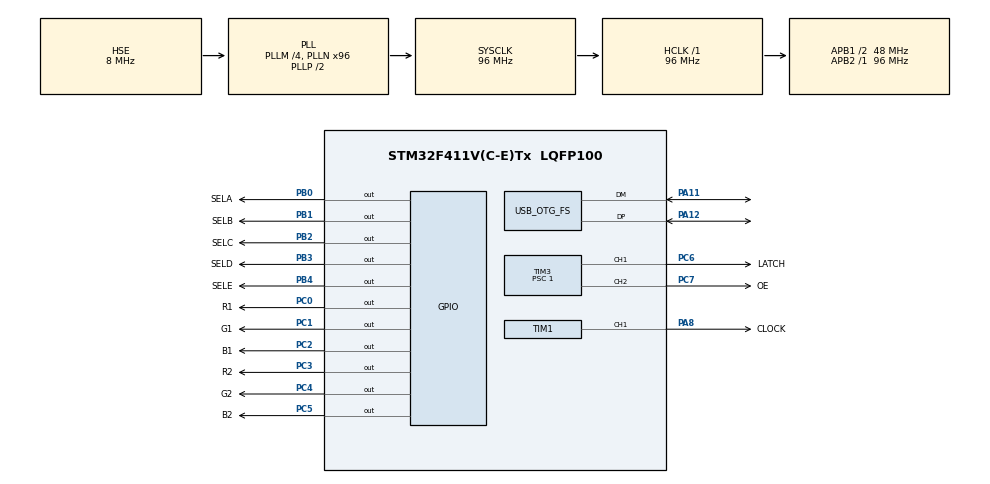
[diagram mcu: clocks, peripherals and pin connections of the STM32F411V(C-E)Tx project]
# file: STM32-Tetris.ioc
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Dma.Request0=TIM1_CH1
Dma.TIM1_CH1.0.Direction=DMA_MEMORY_TO_PERIPH
Dma.TIM1_CH1.0.FIFOMode=DMA_FIFOMODE_ENABLE
Dma.TIM1_CH1.0.FIFOThreshold=DMA_FIFO_THRESHOLD_FULL
Dma.TIM1_CH1.0.Instance=DMA2_Stream3
Dma.TIM1_CH1.0.MemBurst=DMA_MBURST_SINGLE
Dma.TIM1_CH1.0.MemDataAlignment=DMA_MDATAALIGN_BYTE
Dma.TIM1_CH1.0.MemInc=DMA_MINC_ENABLE
Dma.TIM1_CH1.0.Mode=DMA_CIRCULAR
Dma.TIM1_CH1.0.PeriphBurst=DMA_PBURST_SINGLE
Dma.TIM1_CH1.0.PeriphDataAlignment=DMA_PDATAALIGN_BYTE
Dma.TIM1_CH1.0.PeriphInc=DMA_PINC_DISABLE
Dma.TIM1_CH1.0.Priority=DMA_PRIORITY_VERY_HIGH
Mcu.Family=STM32F4
Mcu.Name=STM32F411V(C-E)Tx
Mcu.Package=LQFP100
NVIC.DMA2_Stream3_IRQn=true\:0\:0\:false\:false\:true\:false\:true\:true
NVIC.OTG_FS_IRQn=true\:0\:0\:false\:false\:true\:false\:true\:true
NVIC.PriorityGroup=NVIC_PRIORITYGROUP_0
NVIC.TIM3_IRQn=true\:0\:0\:false\:false\:true\:true\:true\:true
PA0-WKUP.Signal=S_TIM5_CH1
PA1.Signal=S_TIM5_CH2
PA11.Mode=Device_Only
PA11.Signal=USB_OTG_FS_DM
PA12.Mode=Device_Only
PA12.Signal=USB_OTG_FS_DP
PA13.GPIO_Label=SWDIO
PA13.Mode=Serial_Wire
PA13.Signal=SYS_JTMS-SWDIO
PA14.GPIO_Label=SWCLK
PA14.Mode=Serial_Wire
PA14.Signal=SYS_JTCK-SWCLK
PA8.GPIO_Label=CLOCK
PA8.Signal=S_TIM1_CH1
PB0.GPIO_Label=SELA
PB0.GPIO_Speed=GPIO_SPEED_FREQ_VERY_HIGH
PB0.Signal=GPIO_Output
PB1.GPIO_Label=SELB
PB1.GPIO_Speed=GPIO_SPEED_FREQ_VERY_HIGH
PB1.Signal=GPIO_Output
PB2.GPIO_Label=SELC
PB2.GPIO_Speed=GPIO_SPEED_FREQ_VERY_HIGH
PB2.Signal=GPIO_Output
PB3.GPIO_Label=SELD
PB3.GPIO_Speed=GPIO_SPEED_FREQ_VERY_HIGH
PB3.Signal=GPIO_Output
PB4.GPIO_Label=SELE
PB4.GPIO_Speed=GPIO_SPEED_FREQ_VERY_HIGH
PB4.Signal=GPIO_Output
PC0.GPIO_Label=R1
PC0.GPIO_Speed=GPIO_SPEED_FREQ_VERY_HIGH
PC0.Signal=GPIO_Output
PC1.GPIO_Label=G1
PC1.GPIO_Speed=GPIO_SPEED_FREQ_VERY_HIGH
PC1.Signal=GPIO_Output
PC14-OSC32_IN.Mode=LSE-External-Oscillator
PC14-OSC32_IN.Signal=RCC_OSC32_IN
PC15-OSC32_OUT.Mode=LSE-External-Oscillator
PC15-OSC32_OUT.Signal=RCC_OSC32_OUT
PC2.GPIO_Label=B1
PC2.GPIO_Speed=GPIO_SPEED_FREQ_VERY_HIGH
PC2.Signal=GPIO_Output
PC3.GPIO_Label=R2
PC3.GPIO_Speed=GPIO_SPEED_FREQ_VERY_HIGH
PC3.Signal=GPIO_Output
PC4.GPIO_Label=G2
PC4.Signal=GPIO_Output
PC5.GPIO_Label=B2
PC5.Signal=GPIO_Output
PC6.GPIO_Label=LATCH
PC6.Signal=S_TIM3_CH1
PC7.GPIO_Label=OE
PC7.Signal=S_TIM3_CH2
PH0\ -\ OSC_IN.Mode=HSE-External-Oscillator
PH0\ -\ OSC_IN.Signal=RCC_OSC_IN
PH1\ -\ OSC_OUT.Mode=HSE-External-Oscillator
PH1\ -\ OSC_OUT.Signal=RCC_OSC_OUT
ProjectManager.HeapSize=0x200
ProjectManager.StackSize=0x400
ProjectManager.TargetToolchain=STM32CubeIDE
RCC.48MHZClocksFreq_Value=48000000
RCC.AHBFreq_Value=96000000
RCC.APB1CLKDivider=RCC_HCLK_DIV2
RCC.APB1Freq_Value=48000000
RCC.APB1TimFreq_Value=96000000
RCC.APB2Freq_Value=96000000
RCC.APB2TimFreq_Value=96000000
RCC.CortexFreq_Value=96000000
RCC.HCLKFreq_Value=96000000
RCC.HSE_VALUE=8000000
RCC.HSI_VALUE=16000000
RCC.PLLI2SM=8
RCC.PLLI2SN=50
RCC.PLLM=4
RCC.PLLN=96
RCC.SYSCLKFreq_VALUE=96000000
RCC.SYSCLKSource=RCC_SYSCLKSOURCE_PLLCLK
RCC.VCOOutputFreq_Value=192000000
SH.S_TIM1_CH1.0=TIM1_CH1,PWM Generation1 CH1
SH.S_TIM3_CH1.0=TIM3_CH1,PWM Generation1 CH1
SH.S_TIM3_CH2.0=TIM3_CH2,PWM Generation2 CH2
SH.S_TIM5_CH1.0=TIM5_CH1
SH.S_TIM5_CH2.0=TIM5_CH2
TIM1.AutoReloadPreload=TIM_AUTORELOAD_PRELOAD_ENABLE
TIM1.Channel-PWM\ Generation1\ CH1=TIM_CHANNEL_1
TIM1.Period=9
TIM1.Prescaler=1
TIM1.Pulse-PWM\ Generation1\ CH1=5
TIM3.AutoReloadPreload=TIM_AUTORELOAD_PRELOAD_ENABLE
TIM3.Channel-PWM\ Generation1\ CH1=TIM_CHANNEL_1
TIM3.Channel-PWM\ Generation2\ CH2=TIM_CHANNEL_2
TIM3.CounterMode=TIM_COUNTERMODE_UP
TIM3.OC1Preload_PWM=DISABLE
TIM3.OCFastMode_PWM-PWM\ Generation1\ CH1=TIM_OCFAST_ENABLE
TIM3.Period=639
TIM3.Prescaler=1
TIM3.Pulse-PWM\ Generation1\ CH1=12
TIM3.Pulse-PWM\ Generation2\ CH2=640
TIM3.TIM_MasterOutputTrigger=TIM_TRGO_RESET
TIM3.TIM_MasterSlaveMode=TIM_MASTERSLAVEMODE_DISABLE
USB_DEVICE.CLASS_NAME_FS=CDC
USB_DEVICE.VirtualMode=Cdc
USB_DEVICE.VirtualModeFS=Cdc_FS
USB_OTG_FS.VirtualMode=Device_Only
VP_TIM1_VS_ClockSourceINT.Mode=Internal
VP_TIM3_VS_ClockSourceITR.Mode=TriggerSource_ITR0
VP_TIM3_VS_ControllerModeTrigger.Mode=Trigger Mode
VP_USB_DEVICE_VS_USB_DEVICE_CDC_FS.Mode=CDC_FS
board=STM32F411E-DISCO

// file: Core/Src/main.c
/* USER CODE BEGIN Header */
/**
  ******************************************************************************
  * @file           : main.c
  * @brief          : Main program body
  ******************************************************************************
  * @attention
  *
  * Copyright (c) 2022 STMicroelectronics.
  * All rights reserved.
  *
  * This software is licensed under terms that can be found in the LICENSE file
  * in the root directory of this software component.
  * If no LICENSE file comes with this software, it is provided AS-IS.
  *
  ******************************************************************************
  */
/* USER CODE END Header */
#include "main.h"
#include "usb_device.h"

/* USER CODE BEGIN Includes */
#include "console.h"
#include "systick.h"
#include "led.h"
/* USER CODE END Includes */

TIM_HandleTypeDef htim1;
TIM_HandleTypeDef htim3;
DMA_HandleTypeDef hdma_tim1_ch1;

/* USER CODE BEGIN PV */
volatile uint8_t bit;
volatile uint8_t row;
volatile uint32_t frame_count;

volatile uint8_t busyFlag;

uint8_t *nextBuffer;

/* USER CODE END PV */

void SystemClock_Config(void);
static void MX_GPIO_Init(void);
static void MX_DMA_Init(void);
static void MX_TIM3_Init(void);
static void MX_TIM1_Init(void);
/* USER CODE BEGIN PFP */
static void XferCpltCallback(DMA_HandleTypeDef*);
static void XferErrorCallback(DMA_HandleTypeDef*);
static void XferM1CpltCallback(DMA_HandleTypeDef*);
/* USER CODE END PFP */

int main(void)
{

  /* MCU Configuration--------------------------------------------------------*/

  /* Reset of all peripherals, Initializes the Flash interface and the Systick. */
  HAL_Init();

  /* Configure the system clock */
  SystemClock_Config();

  /* USER CODE BEGIN SysInit */
  busyFlag = 1;
  __HAL_TIM_ENABLE_DMA(&htim3, TIM_DMA_CC1);
  /* USER CODE END SysInit */

  /* Initialize all configured peripherals */
  MX_GPIO_Init();
  MX_DMA_Init();
  MX_USB_DEVICE_Init();
  MX_TIM3_Init();
  MX_TIM1_Init();
  /* USER CODE BEGIN 2 */
  DBGMCU->APB2FZ |= DBGMCU_APB2_FZ_DBG_TIM1_STOP;
  DBGMCU->APB1FZ |= DBGMCU_APB1_FZ_DBG_TIM3_STOP;
  //HAL_TIM_Base_MspInit(&htim3);
  //HAL_TIM_MspPostInit(&htim3);

  //DMA1_Stream4->CR |= (4<<DMA_SxCR_CHSEL_Pos) | DMA_SxCR_DBM;
  //DMA1_Stream4->NDTR = 0x4000; // 64 col, 8 Bits per colour channel, 32 rows
  //DMA1_Stream4->PAR = (uint32_t)&(GPIOC->ODR);
  //DMA1_Stream4->M0AR = (uint32_t)buffer1;
  //DMA1_Stream4->M1AR = (uint32_t)buffer2;
  //DMA1_Stream4->CR |= DMA_SxCR_TCIE; // enable the transfer complete interrupt
  //DMA1->HIFCR |= DMA_HIFCR_CTCIF4; // make sure the interrupt flag is clear

  //NVIC_EnableIRQ(DMA1_Stream4_IRQn);

  //DMA1_Stream4->CR |= DMA_SxCR_EN; // enable the stream

  //TIM3->DIER |= TIM_DIER_CC1DE;
  //TIM3->CCER |= TIM_CCER_CC1E;
  //TIM3->BDTR |= TIM_BDTR_MOE; // Main output enabled.. if this isn't set, there is no output on the pins!
  //TIM3->EGR |= TIM_EGR_UG; // trigger a UEV to update the preload, auto-reload, and capture-compare shadow registers
  //TIM3->CR2 |= TIM_CR2_MMS_1; // Master mode - update

  hdma_tim1_ch1.XferCpltCallback = XferCpltCallback;
  hdma_tim1_ch1.XferErrorCallback = XferErrorCallback;
  hdma_tim1_ch1.XferM1CpltCallback = XferM1CpltCallback;
  HAL_DMAEx_MultiBufferStart_IT( &hdma_tim1_ch1, (uint32_t)buffer1, (uint32_t)&(GPIOC->ODR), (uint32_t)buffer2, WIDTH*BITS_PER_CHANNEL*SCAN_RATE);

  HAL_TIM_PWM_Start(&htim1, TIM_CHANNEL_1);
  //HAL_TIM_PWM_Start_DMA(&htim1, TIM_CHANNEL_1);
  //HAL_TIM_Base_Start_IT(&htim3);
  __HAL_TIM_ENABLE_IT(&htim3, TIM_IT_UPDATE);
  HAL_TIM_PWM_Start(&htim3, TIM_CHANNEL_1);
  HAL_TIM_PWM_Start(&htim3, TIM_CHANNEL_2);

  /* USER CODE END 2 */

  /* Infinite loop */
  /* USER CODE BEGIN WHILE */

  ConsoleInit();
  uint32_t current_buffer, start_time;

  while (1)
  {
	ConsoleProcess();
    start_time = HAL_GetTick();
    while(1);
    while(busyFlag);
    busyFlag = 1;
    current_buffer = DMA1_Stream4->CR | DMA_SxCR_CT;
    nextBuffer = current_buffer ? buffer2 : buffer1;
    while(busyFlag);
    busyFlag = 1;
    LED_fillBuffer(frame, nextBuffer);
    LED_waveEffect(frame);
    while(HAL_GetTick() - start_time < 30);
    /* USER CODE END WHILE */

  }
}

void SystemClock_Config(void)
{
  RCC_OscInitTypeDef RCC_OscInitStruct = {0};
  RCC_ClkInitTypeDef RCC_ClkInitStruct = {0};

  /** Configure the main internal regulator output voltage
  */
  __HAL_RCC_PWR_CLK_ENABLE();
  __HAL_PWR_VOLTAGESCALING_CONFIG(PWR_REGULATOR_VOLTAGE_SCALE1);

  /** Initializes the RCC Oscillators according to the specified parameters
  * in the RCC_OscInitTypeDef structure.
  */
  RCC_OscInitStruct.OscillatorType = RCC_OSCILLATORTYPE_HSE;
  RCC_OscInitStruct.HSEState = RCC_HSE_ON;
  RCC_OscInitStruct.PLL.PLLState = RCC_PLL_ON;
  RCC_OscInitStruct.PLL.PLLSource = RCC_PLLSOURCE_HSE;
  RCC_OscInitStruct.PLL.PLLM = 4;
  RCC_OscInitStruct.PLL.PLLN = 96;
  RCC_OscInitStruct.PLL.PLLP = RCC_PLLP_DIV2;
  RCC_OscInitStruct.PLL.PLLQ = 4;
  if (HAL_RCC_OscConfig(&RCC_OscInitStruct) != HAL_OK)
  {
    Error_Handler();
  }

  /** Initializes the CPU, AHB and APB buses clocks
  */
  RCC_ClkInitStruct.ClockType = RCC_CLOCKTYPE_HCLK|RCC_CLOCKTYPE_SYSCLK
                              |RCC_CLOCKTYPE_PCLK1|RCC_CLOCKTYPE_PCLK2;
  RCC_ClkInitStruct.SYSCLKSource = RCC_SYSCLKSOURCE_PLLCLK;
  RCC_ClkInitStruct.AHBCLKDivider = RCC_SYSCLK_DIV1;
  RCC_ClkInitStruct.APB1CLKDivider = RCC_HCLK_DIV2;
  RCC_ClkInitStruct.APB2CLKDivider = RCC_HCLK_DIV1;

  if (HAL_RCC_ClockConfig(&RCC_ClkInitStruct, FLASH_LATENCY_3) != HAL_OK)
  {
    Error_Handler();
  }
}

static void MX_TIM1_Init(void)
{

  TIM_ClockConfigTypeDef sClockSourceConfig = {0};
  TIM_MasterConfigTypeDef sMasterConfig = {0};
  TIM_OC_InitTypeDef sConfigOC = {0};
  TIM_BreakDeadTimeConfigTypeDef sBreakDeadTimeConfig = {0};

  htim1.Instance = TIM1;
  htim1.Init.Prescaler = 1;
  htim1.Init.CounterMode = TIM_COUNTERMODE_UP;
  htim1.Init.Period = 9;
  htim1.Init.ClockDivision = TIM_CLOCKDIVISION_DIV1;
  htim1.Init.RepetitionCounter = 0;
  htim1.Init.AutoReloadPreload = TIM_AUTORELOAD_PRELOAD_ENABLE;
  if (HAL_TIM_Base_Init(&htim1) != HAL_OK)
  {
    Error_Handler();
  }
  sClockSourceConfig.ClockSource = TIM_CLOCKSOURCE_INTERNAL;
  if (HAL_TIM_ConfigClockSource(&htim1, &sClockSourceConfig) != HAL_OK)
  {
    Error_Handler();
  }
  if (HAL_TIM_PWM_Init(&htim1) != HAL_OK)
  {
    Error_Handler();
  }
  sMasterConfig.MasterOutputTrigger = TIM_TRGO_RESET;
  sMasterConfig.MasterSlaveMode = TIM_MASTERSLAVEMODE_DISABLE;
  if (HAL_TIMEx_MasterConfigSynchronization(&htim1, &sMasterConfig) != HAL_OK)
  {
    Error_Handler();
  }
  sConfigOC.OCMode = TIM_OCMODE_PWM1;
  sConfigOC.Pulse = 5;
  sConfigOC.OCPolarity = TIM_OCPOLARITY_HIGH;
  sConfigOC.OCNPolarity = TIM_OCNPOLARITY_HIGH;
  sConfigOC.OCFastMode = TIM_OCFAST_DISABLE;
  sConfigOC.OCIdleState = TIM_OCIDLESTATE_RESET;
  sConfigOC.OCNIdleState = TIM_OCNIDLESTATE_RESET;
  if (HAL_TIM_PWM_ConfigChannel(&htim1, &sConfigOC, TIM_CHANNEL_1) != HAL_OK)
  {
    Error_Handler();
  }
  sBreakDeadTimeConfig.OffStateRunMode = TIM_OSSR_DISABLE;
  sBreakDeadTimeConfig.OffStateIDLEMode = TIM_OSSI_DISABLE;
  sBreakDeadTimeConfig.LockLevel = TIM_LOCKLEVEL_OFF;
  sBreakDeadTimeConfig.DeadTime = 0;
  sBreakDeadTimeConfig.BreakState = TIM_BREAK_DISABLE;
  sBreakDeadTimeConfig.BreakPolarity = TIM_BREAKPOLARITY_HIGH;
  sBreakDeadTimeConfig.AutomaticOutput = TIM_AUTOMATICOUTPUT_DISABLE;
  if (HAL_TIMEx_ConfigBreakDeadTime(&htim1, &sBreakDeadTimeConfig) != HAL_OK)
  {
    Error_Handler();
  }
  HAL_TIM_MspPostInit(&htim1);

}

static void MX_TIM3_Init(void)
{

  TIM_SlaveConfigTypeDef sSlaveConfig = {0};
  TIM_MasterConfigTypeDef sMasterConfig = {0};
  TIM_OC_InitTypeDef sConfigOC = {0};

  htim3.Instance = TIM3;
  htim3.Init.Prescaler = 1;
  htim3.Init.CounterMode = TIM_COUNTERMODE_UP;
  htim3.Init.Period = 639;
  htim3.Init.ClockDivision = TIM_CLOCKDIVISION_DIV1;
  htim3.Init.AutoReloadPreload = TIM_AUTORELOAD_PRELOAD_ENABLE;
  if (HAL_TIM_Base_Init(&htim3) != HAL_OK)
  {
    Error_Handler();
  }
  if (HAL_TIM_PWM_Init(&htim3) != HAL_OK)
  {
    Error_Handler();
  }
  sSlaveConfig.SlaveMode = TIM_SLAVEMODE_TRIGGER;
  sSlaveConfig.InputTrigger = TIM_TS_ITR0;
  if (HAL_TIM_SlaveConfigSynchro(&htim3, &sSlaveConfig) != HAL_OK)
  {
    Error_Handler();
  }
  sMasterConfig.MasterOutputTrigger = TIM_TRGO_RESET;
  sMasterConfig.MasterSlaveMode = TIM_MASTERSLAVEMODE_DISABLE;
  if (HAL_TIMEx_MasterConfigSynchronization(&htim3, &sMasterConfig) != HAL_OK)
  {
    Error_Handler();
  }
  sConfigOC.OCMode = TIM_OCMODE_PWM1;
  sConfigOC.Pulse = 12;
  sConfigOC.OCPolarity = TIM_OCPOLARITY_HIGH;
  sConfigOC.OCFastMode = TIM_OCFAST_ENABLE;
  if (HAL_TIM_PWM_ConfigChannel(&htim3, &sConfigOC, TIM_CHANNEL_1) != HAL_OK)
  {
    Error_Handler();
  }
  __HAL_TIM_DISABLE_OCxPRELOAD(&htim3, TIM_CHANNEL_1);
  sConfigOC.Pulse = 640;
  sConfigOC.OCFastMode = TIM_OCFAST_DISABLE;
  if (HAL_TIM_PWM_ConfigChannel(&htim3, &sConfigOC, TIM_CHANNEL_2) != HAL_OK)
  {
    Error_Handler();
  }
  HAL_TIM_MspPostInit(&htim3);

}

static void MX_DMA_Init(void)
{

  /* DMA controller clock enable */
  __HAL_RCC_DMA2_CLK_ENABLE();

  /* DMA interrupt init */
  /* DMA2_Stream3_IRQn interrupt configuration */
  HAL_NVIC_SetPriority(DMA2_Stream3_IRQn, 0, 0);
  HAL_NVIC_EnableIRQ(DMA2_Stream3_IRQn);

}

static void MX_GPIO_Init(void)
{
  GPIO_InitTypeDef GPIO_InitStruct = {0};

  /* GPIO Ports Clock Enable */
  __HAL_RCC_GPIOC_CLK_ENABLE();
  __HAL_RCC_GPIOH_CLK_ENABLE();
  __HAL_RCC_GPIOA_CLK_ENABLE();
  __HAL_RCC_GPIOB_CLK_ENABLE();

  /*Configure GPIO pin Output Level */
  HAL_GPIO_WritePin(GPIOC, R1_Pin|G1_Pin|B1_Pin|R2_Pin
                          |G2_Pin|B2_Pin, GPIO_PIN_RESET);

  /*Configure GPIO pin Output Level */
  HAL_GPIO_WritePin(GPIOB, SELA_Pin|SELB_Pin|SELC_Pin|SELD_Pin
                          |SELE_Pin, GPIO_PIN_RESET);

  /*Configure GPIO pins : R1_Pin G1_Pin B1_Pin R2_Pin */
  GPIO_InitStruct.Pin = R1_Pin|G1_Pin|B1_Pin|R2_Pin;
  GPIO_InitStruct.Mode = GPIO_MODE_OUTPUT_PP;
  GPIO_InitStruct.Pull = GPIO_NOPULL;
  GPIO_InitStruct.Speed = GPIO_SPEED_FREQ_VERY_HIGH;
  HAL_GPIO_Init(GPIOC, &GPIO_InitStruct);

  /*Configure GPIO pins : PA0 PA1 */
  GPIO_InitStruct.Pin = GPIO_PIN_0|GPIO_PIN_1;
  GPIO_InitStruct.Mode = GPIO_MODE_AF_PP;
  GPIO_InitStruct.Pull = GPIO_NOPULL;
  GPIO_InitStruct.Speed = GPIO_SPEED_FREQ_LOW;
  GPIO_InitStruct.Alternate = GPIO_AF2_TIM5;
  HAL_GPIO_Init(GPIOA, &GPIO_InitStruct);

  /*Configure GPIO pins : G2_Pin B2_Pin */
  GPIO_InitStruct.Pin = G2_Pin|B2_Pin;
  GPIO_InitStruct.Mode = GPIO_MODE_OUTPUT_PP;
  GPIO_InitStruct.Pull = GPIO_NOPULL;
  GPIO_InitStruct.Speed = GPIO_SPEED_FREQ_LOW;
  HAL_GPIO_Init(GPIOC, &GPIO_InitStruct);

  /*Configure GPIO pins : SELA_Pin SELB_Pin SELC_Pin SELD_Pin
                           SELE_Pin */
  GPIO_InitStruct.Pin = SELA_Pin|SELB_Pin|SELC_Pin|SELD_Pin
                          |SELE_Pin;
  GPIO_InitStruct.Mode = GPIO_MODE_OUTPUT_PP;
  GPIO_InitStruct.Pull = GPIO_NOPULL;
  GPIO_InitStruct.Speed = GPIO_SPEED_FREQ_VERY_HIGH;
  HAL_GPIO_Init(GPIOB, &GPIO_InitStruct);

}

/* USER CODE BEGIN 4 */
// Callback: timer has rolled over
void HAL_TIM_PeriodElapsedCallback(TIM_HandleTypeDef *htim)
{
  if (htim == &htim3)
	{
	/* Clear the interrupt flag right away.
	 * Due to pipelining, the register itself might not get updated for several
	 * cycles. If we wait until the end of the ISR to clear the flag,
	 * it can trigger again immediately */
	TIM3->SR &= ~TIM_SR_UIF_Msk;

	if(bit == 0) { // the first 64 bits of a new row have been latched. Set the row select to match.
		GPIOB->ODR = (GPIOB->ODR & ~(row_mask)) | row;
		row++;
		row &= row_mask;
	}
	bit++;
	bit &=  0x7;
	TIM3->CCR2 = 640 - (BRIGHTNESS * (1 << bit)); // set the duty cycle of the NEXT ~OE pulse
  }
}

/**
  * @brief  DMA conversion complete callback
  * @note   This function is executed when the transfer complete interrupt
  *         is generated
  * @retval None
  */
static void XferCpltCallback(DMA_HandleTypeDef *DmaHandle)
{
	if (DmaHandle->Instance == DMA1_Stream4 )
	{
	    DMA1->HIFCR |= DMA_HIFCR_CTCIF4; // make sure the interrupt flag is clear
	    frame_count++;
	    busyFlag = 0; // main loop watches this flag to know when to fill up the next buffer;
	}
}

static void XferErrorCallback(DMA_HandleTypeDef *DmaHandle)
	{
		;
	}
static void XferM1CpltCallback(DMA_HandleTypeDef *DmaHandle) {
	if (DmaHandle->Instance == DMA1_Stream4 )
	{
	    DMA1->HIFCR |= DMA_HIFCR_CTCIF4; // make sure the interrupt flag is clear
	    frame_count++;
	    busyFlag = 0; // main loop watches this flag to know when to fill up the next buffer;
	}
}
/* USER CODE END 4 */

void Error_Handler(void)
{
  __disable_irq();
  while (1)
  {
  }
}
